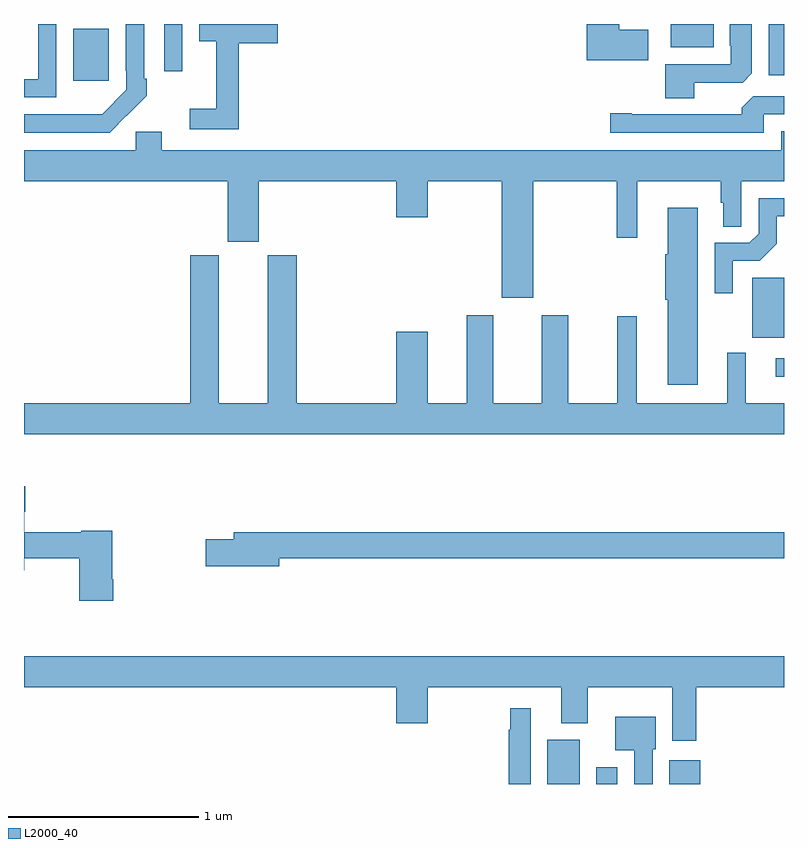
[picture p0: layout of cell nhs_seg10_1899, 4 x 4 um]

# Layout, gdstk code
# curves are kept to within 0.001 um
import gdstk
lib = gdstk.Library(unit=1e-6, precision=1e-09)
def R(c, l, rs):  # rectangles x0, y0, x1, y1
    for r in rs: c.add(gdstk.rectangle(r[:2], r[2:], *l))
def P(c, l, *ps):  # polygons
    for p in ps: c.add(gdstk.Polygon(p, *l))
L2000_40 = (2000, 40)

nhs_seg10_1899 = lib.new_cell('nhs_seg10_1899')
R(nhs_seg10_1899, L2000_40, [(213.755,1274.5,213.925,1274.734), (214.013,1274.5,214.123,1274.587), (214.397,1274.5,214.559,1274.626), (214.956,1276.643,215,1276.74), (214.832,1276.85,215,1277.164), (211.259,1278.201,211.447,1278.475), (214.919,1278.23,215,1278.5), (211.737,1278.252,211.833,1278.5), (214.403,1278.377,214.63,1278.5)])
P(nhs_seg10_1899, L2000_40, [(214.528,1278.192),(214.782,1278.192),(214.831,1278.241),(214.831,1278.5),(214.715,1278.5),(214.715,1278.385),(214.719,1278.385),(214.719,1278.288),(214.376,1278.288),(214.376,1278.109),(214.528,1278.109)],
  [(211.541,1278.019),(211.542,1278.018),(211.647,1278.123),(211.647,1278.211),(211.632,1278.211),(211.632,1278.5),(211.536,1278.5),(211.536,1278.253),(211.539,1278.253),(211.539,1278.153),(211.411,1278.025),(211,1278.024),(211,1277.928),(211.45,1277.928)],
  [(212.129,1278.398),(212.335,1278.398),(212.335,1278.5),(211.922,1278.5),(211.922,1278.41),(212.012,1278.41),(212.012,1278.055),(211.872,1278.055),(211.872,1277.946),(212.129,1277.946)],
  [(211.17,1278.5),(211.074,1278.5),(211.074,1278.21),(211,1278.21),(211,1278.114),(211.17,1278.114)],
  [(214.285,1278.471),(214.132,1278.471),(214.132,1278.5),(213.962,1278.5),(213.962,1278.308),(214.285,1278.308)],
  [(214.893,1278.024),(215,1278.024),(215,1278.12),(214.839,1278.12),(214.778,1278.058),(214.778,1278.024),(214.198,1278.024),(214.198,1278.029),(214.086,1278.029),(214.086,1277.928),(214.893,1277.928)],
  [(213.679,1277.672),(214.119,1277.672),(214.119,1277.376),(214.228,1277.376),(214.228,1277.672),(214.668,1277.672),(214.668,1277.559),(214.679,1277.559),(214.679,1277.434),(214.776,1277.434),(214.776,1277.672),(215,1277.672),(215,1277.935),(214.985,1277.935),(214.985,1277.836),(211.726,1277.836),(211.726,1277.934),(211.587,1277.934),(211.587,1277.836),(211,1277.836),(211,1277.672),(212.072,1277.672),(212.072,1277.355),(212.236,1277.355),(212.236,1277.672),(212.96,1277.672),(212.96,1277.484),(213.124,1277.484),(213.124,1277.672),(213.515,1277.672),(213.515,1277.058),(213.679,1277.058)],
  [(214.731,1277.253),(214.872,1277.253),(214.962,1277.343),(214.962,1277.487),(215,1277.487),(215,1277.583),(214.866,1277.583),(214.866,1277.397),(214.818,1277.349),(214.635,1277.349),(214.635,1277.082),(214.731,1277.082)],
  [(214.546,1277.533),(214.388,1277.533),(214.388,1277.288),(214.376,1277.288),(214.376,1277.05),(214.388,1277.05),(214.388,1276.602),(214.546,1276.602)],
  [(215,1276.504),(214.798,1276.504),(214.798,1276.771),(214.7,1276.771),(214.7,1276.504),(214.225,1276.504),(214.225,1276.963),(214.123,1276.963),(214.123,1276.504),(213.865,1276.504),(213.865,1276.966),(213.725,1276.966),(213.725,1276.504),(213.469,1276.504),(213.469,1276.966),(213.329,1276.966),(213.329,1276.504),(213.124,1276.504),(213.124,1276.879),(212.96,1276.879),(212.96,1276.504),(212.435,1276.504),(212.435,1277.283),(212.282,1277.283),(212.282,1276.504),(212.026,1276.504),(212.026,1277.283),(211.874,1277.283),(211.874,1276.504),(211,1276.504),(211,1276.34),(215,1276.34)],
  [(211.469,1275.577),(211.464,1275.577),(211.464,1275.832),(211.302,1275.832),(211.302,1275.824),(211.002,1275.824),(211.002,1275.932),(211.007,1275.932),(211.007,1276.068),(211,1276.068),(211,1275.624),(211.002,1275.624),(211.002,1275.688),(211.291,1275.688),(211.291,1275.465),(211.469,1275.465)],
  [(212.344,1275.688),(215,1275.688),(215,1275.824),(212.105,1275.824),(212.105,1275.788),(211.956,1275.788),(211.956,1275.646),(212.344,1275.646)],
  [(214.538,1275.008),(215,1275.008),(215,1275.172),(211,1275.172),(211,1275.008),(212.96,1275.008),(212.96,1274.82),(213.124,1274.82),(213.124,1275.008),(213.827,1275.008),(213.827,1274.819),(213.967,1274.819),(213.967,1275.008),(214.412,1275.008),(214.412,1274.727),(214.538,1274.727)],
  [(213.666,1274.899),(213.558,1274.899),(213.558,1274.786),(213.55,1274.786),(213.55,1274.5),(213.666,1274.5)],
  [(214.308,1274.682),(214.324,1274.682),(214.324,1274.854),(214.112,1274.854),(214.112,1274.678),(214.212,1274.678),(214.212,1274.5),(214.308,1274.5)])

lib.write_gds('nhs_seg10_1899.gds')
